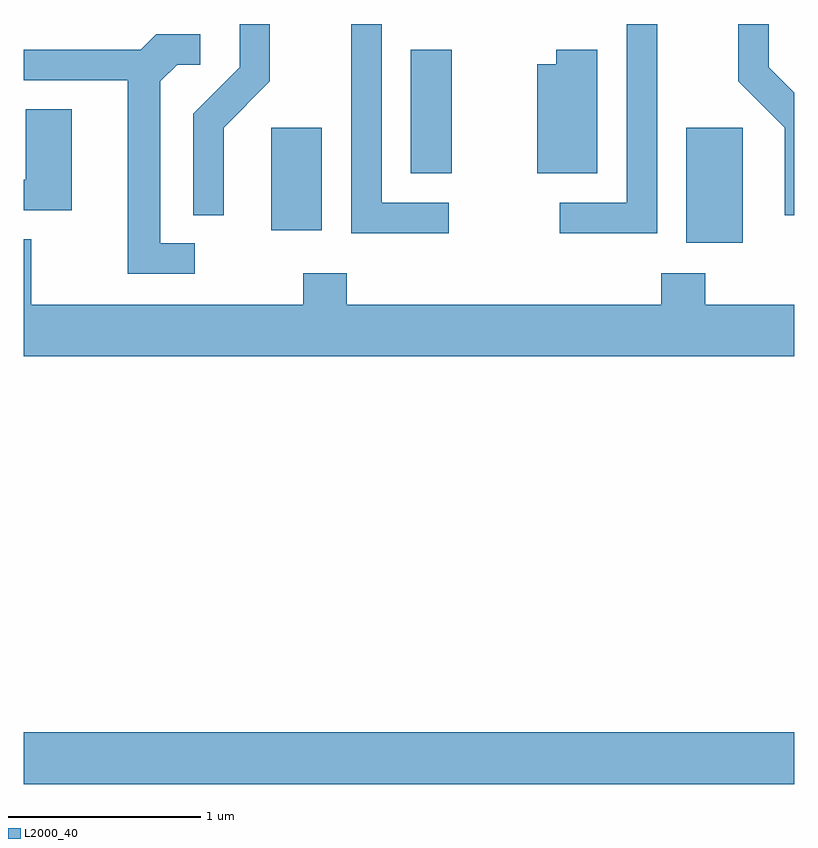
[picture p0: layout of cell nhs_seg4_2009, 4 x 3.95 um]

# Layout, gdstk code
import gdstk
lib = gdstk.Library(unit=1e-6, precision=1e-09)
def R(c, l, rs):  # rectangles x0, y0, x1, y1
    for r in rs: c.add(gdstk.rectangle(r[:2], r[2:], *l))
def P(c, l, *ps):  # polygons
    for p in ps: c.add(gdstk.Polygon(p, *l))
L2000_40 = (2000, 40)

nhs_seg4_2009 = lib.new_cell('nhs_seg4_2009')
R(nhs_seg4_2009, L2000_40, [(243.611,1328.036,247.611,1328.304), (247.051,1330.846,247.344,1331.444), (244.896,1330.911,245.159,1331.444), (245.621,1331.206,245.834,1331.849)])
P(nhs_seg4_2009, L2000_40, [(246.899,1331.982),(246.741,1331.982),(246.741,1331.054),(246.393,1331.054),(246.393,1330.896),(246.899,1330.896)],
  [(247.611,1331.625),(247.479,1331.757),(247.479,1331.982),(247.321,1331.982),(247.321,1331.684),(247.561,1331.444),(247.561,1330.988),(247.611,1330.988)],
  [(244.649,1331.444),(244.889,1331.684),(244.889,1331.982),(244.731,1331.982),(244.731,1331.757),(244.491,1331.517),(244.491,1330.988),(244.649,1330.988)],
  [(245.818,1331.054),(245.469,1331.054),(245.469,1331.982),(245.311,1331.982),(245.311,1330.896),(245.818,1330.896)],
  [(244.498,1330.844),(244.319,1330.844),(244.319,1331.684),(244.407,1331.771),(244.528,1331.771),(244.528,1331.929),(244.299,1331.929),(244.219,1331.849),(243.611,1331.849),(243.611,1331.691),(244.151,1331.691),(244.151,1330.686),(244.498,1330.686)],
  [(246.589,1331.849),(246.376,1331.849),(246.376,1331.774),(246.276,1331.774),(246.276,1331.206),(246.589,1331.206)],
  [(243.859,1331.539),(243.621,1331.539),(243.621,1331.174),(243.611,1331.174),(243.611,1331.016),(243.859,1331.016)],
  [(247.611,1330.524),(247.149,1330.524),(247.149,1330.689),(246.921,1330.689),(246.921,1330.524),(245.289,1330.524),(245.289,1330.689),(245.061,1330.689),(245.061,1330.524),(243.649,1330.524),(243.649,1330.864),(243.611,1330.864),(243.611,1330.256),(247.611,1330.256)])

lib.write_gds('nhs_seg4_2009.gds')
